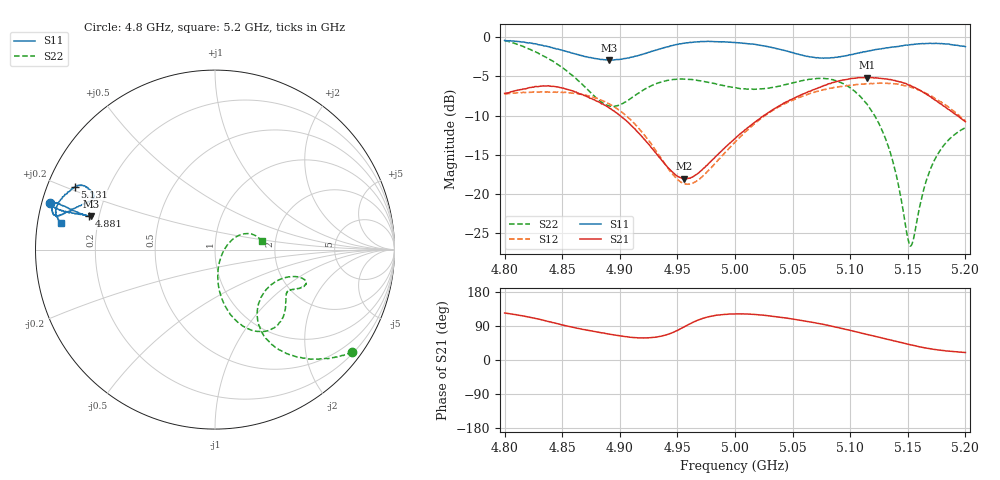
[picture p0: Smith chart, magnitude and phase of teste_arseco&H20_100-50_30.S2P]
! Network Analyzer HP8722D
! Hewlett-Packard
! Data name: Linha & Wilkinson
! Saver's name: Rodrigo Anjos
! Comments: Teste da utilização de aquisição
! continua pelo VNA HP8722D
! Time and date: 6/5/2025 12:49
!  Frequency  S11  S21  S12  S22
# HZ  S  MA R 50
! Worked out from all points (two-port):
!   401 points, 4.8 GHz to 5.2 GHz, reference 50 ohm
!   highest |S21| = -5.14 dB at 5.115 GHz (marker M1); lowest = -18.1 dB at 4.956 GHz (marker M2)
!   |S21| within 3 dB of the highest: start of sweep to 4.88 GHz; 5.046 GHz to 5.175 GHz (128.9 MHz wide, 2.52 % of centre)
!   lowest |S11| = -2.9 dB at 4.891 GHz (marker M3), VSWR 6.01, Z = 8.45 + j6.39 ohm
!   |S11| at or under -10 dB: nowhere
!   |S22| runs from -26.7 to -0.4 dB; largest |S21 - S12| = 0.71
!   S11 on the Smith chart (normalised r, x): 4.8 GHz: 0.02, +0.14; 4.881 GHz: 0.16, +0.13; 5.131 GHz: 0.08, +0.21; 5.2 GHz: 0.07, +0.09
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4.8e9  0.9542 164.4  0.4383 124.1  0.434 19.0  0.9532 -36.6
4.835e9  0.879 165.6  0.4882 104.0  0.4479 8.3  0.7508 -52.8
4.867e9  0.7628 165.3  0.431 81.3  0.4319 -4.9  0.504 -60.1
4.881e9  0.7267 165.2  0.389 73.7  0.4049 -13.3  0.4019 -53.7
4.891e9  0.7149 165.0  0.3522 68.1  0.3751 -19.3  0.3642 -42.5
4.911e9  0.7488 165.2  0.269 59.6  0.2892 -30.6  0.4145 -22.6
4.934e9  0.839 164.4  0.172 61.7  0.177 -32.8  0.5129 -18.2
4.956e9  0.9156 163.5  0.125 87.6  0.1163 -5.6  0.5404 -21.2
4.97e9  0.9388 164.2  0.1398 107.6  0.1259 18.2  0.527 -23.5
5e9  0.9263 167.4  0.2258 121.5  0.2146 39.8  0.4754 -28.0
5.034e9  0.8556 165.9  0.349 115.1  0.3454 35.9  0.4812 -34.8
5.067e9  0.7469 158.6  0.46 99.6  0.4404 21.9  0.5423 -47.6
5.092e9  0.7537 155.3  0.5305 83.9  0.4848 7.9  0.5141 -62.5
5.115e9  0.8159 154.2  0.5532 67.1  0.5056 -5.5  0.3711 -76.8
5.131e9  0.8552 155.9  0.5428 55.8  0.5086 -15.8  0.2218 -84.2
5.134e9  0.8602 156.3  0.5367 53.6  0.5067 -18.0  0.1918 -84.6
5.141e9  0.8733 158.0  0.5241 48.4  0.502 -22.8  0.1225 -82.3
5.15e9  0.8908 160.2  0.4983 41.5  0.4864 -28.8  0.05206 -49.0
5.153e9  0.899 160.9  0.489 39.7  0.4787 -31.0  0.04679 -18.6
5.164e9  0.9099 163.8  0.442 32.5  0.4455 -37.9  0.108 29.5
5.172e9  0.9126 165.5  0.4051 28.5  0.4147 -42.3  0.1578 30.6
5.2e9  0.8705 170.1  0.2891 19.8  0.2919 -52.2  0.2647 10.2
